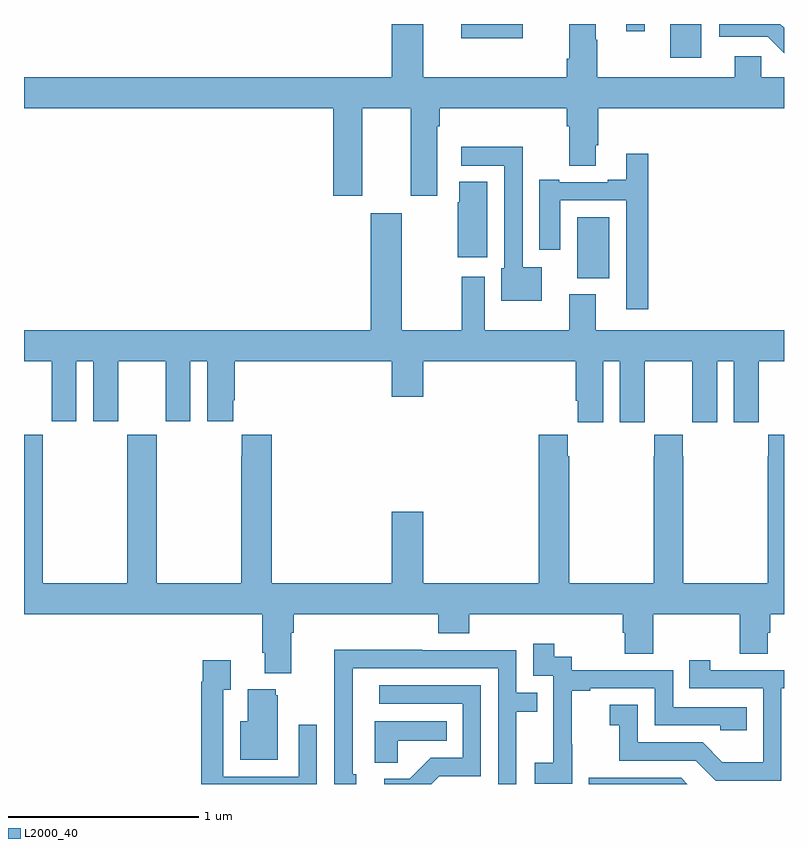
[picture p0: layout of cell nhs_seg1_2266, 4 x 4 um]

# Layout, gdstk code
import gdstk
lib = gdstk.Library(unit=1e-6, precision=1e-09)
def R(c, l, rs):  # rectangles x0, y0, x1, y1
    for r in rs: c.add(gdstk.rectangle(r[:2], r[2:], *l))
def P(c, l, *ps):  # polygons
    for p in ps: c.add(gdstk.Polygon(p, *l))
L2000_40 = (2000, 40)

nhs_seg1_2266 = lib.new_cell('nhs_seg1_2266')
R(nhs_seg1_2266, L2000_40, [(237.911,526.862,238.081,527.182), (238.4,528.021,238.564,528.199), (237.3,528.125,237.624,528.199), (238.169,528.162,238.267,528.199)])
P(nhs_seg1_2266, L2000_40, [(239,528.178),(238.979,528.199),(238.659,528.199),(238.659,528.132),(238.914,528.132),(239,528.046)],
  [(238.017,528.116),(238.009,528.116),(238.009,528.199),(237.869,528.199),(237.869,528.016),(237.857,528.016),(237.857,527.92),(237.1,527.92),(237.1,528.199),(236.936,528.199),(236.936,527.92),(235,527.92),(235,527.756),(236.627,527.756),(236.627,527.295),(236.779,527.295),(236.779,527.756),(237.035,527.756),(237.035,527.295),(237.175,527.295),(237.175,527.66),(237.188,527.66),(237.188,527.756),(237.857,527.756),(237.857,527.66),(237.869,527.66),(237.869,527.452),(238.009,527.452),(238.009,527.56),(238.022,527.56),(238.022,527.756),(239,527.756),(239,527.92),(238.881,527.92),(238.881,528.03),(238.742,528.03),(238.742,527.92),(238.017,527.92)],
  [(237.724,526.918),(237.624,526.918),(237.624,527.552),(237.3,527.552),(237.3,527.454),(237.528,527.454),(237.528,526.914),(237.512,526.914),(237.512,526.742),(237.724,526.742)],
  [(238.286,527.515),(238.169,527.515),(238.169,527.38),(238.073,527.38),(238.073,527.367),(237.817,527.367),(237.817,527.38),(237.713,527.38),(237.713,527.01),(237.823,527.01),(237.823,527.271),(238.17,527.271),(238.17,526.698),(238.286,526.698)],
  [(237.439,527.369),(237.29,527.369),(237.29,527.261),(237.283,527.261),(237.283,526.971),(237.439,526.971)],
  [(238.009,526.777),(237.869,526.777),(237.869,526.588),(237.424,526.588),(237.424,526.87),(237.304,526.87),(237.304,526.588),(236.989,526.588),(236.989,527.203),(236.825,527.203),(236.825,526.588),(235,526.588),(235,526.424),(235.145,526.424),(235.145,526.107),(235.276,526.107),(235.276,526.424),(235.364,526.424),(235.364,526.107),(235.495,526.107),(235.495,526.424),(235.745,526.424),(235.745,526.107),(235.876,526.107),(235.876,526.424),(235.964,526.424),(235.964,526.107),(236.101,526.107),(236.101,526.219),(236.108,526.219),(236.108,526.424),(236.936,526.424),(236.936,526.236),(237.1,526.236),(237.1,526.424),(237.905,526.424),(237.905,526.216),(237.914,526.216),(237.914,526.104),(238.048,526.104),(238.048,526.424),(238.136,526.424),(238.136,526.104),(238.266,526.104),(238.266,526.216),(238.267,526.216),(238.267,526.424),(238.517,526.424),(238.517,526.216),(238.518,526.216),(238.518,526.104),(238.648,526.104),(238.648,526.424),(238.736,526.424),(238.736,526.104),(238.866,526.104),(238.866,526.216),(238.867,526.216),(238.867,526.424),(239,526.424),(239,526.588),(238.009,526.588)],
  [(237.87,525.923),(237.863,525.923),(237.863,526.036),(237.71,526.036),(237.71,525.256),(237.1,525.256),(237.1,525.631),(236.936,525.631),(236.936,525.256),(236.303,525.256),(236.303,526.036),(236.147,526.036),(236.147,525.923),(236.143,525.923),(236.143,525.256),(235.698,525.256),(235.698,526.036),(235.543,526.036),(235.543,525.256),(235.098,525.256),(235.098,526.036),(235,526.036),(235,525.092),(236.255,525.092),(236.255,524.89),(236.267,524.89),(236.267,524.783),(236.407,524.783),(236.407,524.996),(236.42,524.996),(236.42,525.092),(237.179,525.092),(237.179,524.993),(237.344,524.993),(237.344,525.092),(238.151,525.092),(238.151,524.994),(238.163,524.994),(238.163,524.884),(238.311,524.884),(238.311,525.092),(238.768,525.092),(238.768,524.884),(238.915,524.884),(238.915,524.994),(238.928,524.994),(238.928,525.092),(239,525.092),(239,526.036),(238.917,526.036),(238.917,525.923),(238.915,525.923),(238.915,525.256),(238.47,525.256),(238.47,525.923),(238.467,525.923),(238.467,526.036),(238.317,526.036),(238.317,525.923),(238.315,525.923),(238.315,525.256),(237.87,525.256)],
  [(237.885,524.407),(237.884,524.407),(237.884,524.691),(237.979,524.691),(237.979,524.703),(238.32,524.703),(238.32,524.508),(238.665,524.508),(238.665,524.481),(238.805,524.481),(238.805,524.604),(238.416,524.604),(238.416,524.799),(237.882,524.799),(237.882,524.868),(237.79,524.868),(237.79,524.938),(237.681,524.938),(237.681,524.769),(237.786,524.769),(237.786,524.54),(237.785,524.54),(237.785,524.311),(237.687,524.311),(237.687,524.201),(237.885,524.201)],
  [(236.749,524.25),(236.73,524.25),(236.73,524.808),(237.495,524.808),(237.495,524.199),(237.591,524.199),(237.591,524.578),(237.701,524.578),(237.701,524.679),(237.591,524.679),(237.591,524.904),(237.095,524.904),(237.095,524.906),(236.632,524.906),(236.632,524.599),(236.634,524.599),(236.634,524.199),(236.749,524.199)],
  [(238.986,524.703),(239,524.703),(239,524.799),(238.612,524.799),(238.612,524.851),(238.501,524.851),(238.501,524.703),(238.89,524.703),(238.89,524.314),(238.676,524.314),(238.572,524.418),(238.23,524.418),(238.23,524.617),(238.083,524.617),(238.083,524.507),(238.132,524.507),(238.132,524.322),(238.535,524.322),(238.64,524.217),(238.986,524.217)],
  [(236.541,524.512),(236.445,524.512),(236.445,524.238),(236.049,524.238),(236.049,524.695),(236.089,524.695),(236.089,524.851),(235.941,524.851),(235.941,524.738),(235.933,524.738),(235.933,524.199),(236.541,524.199)],
  [(237.186,524.241),(237.405,524.241),(237.405,524.718),(236.871,524.718),(236.871,524.622),(237.309,524.622),(237.309,524.337),(237.14,524.337),(237.029,524.226),(236.895,524.226),(236.895,524.199),(237.144,524.199)],
  [(236.335,524.667),(236.324,524.667),(236.324,524.698),(236.177,524.698),(236.177,524.53),(236.138,524.53),(236.138,524.327),(236.335,524.327)],
  [(236.967,524.426),(237.224,524.426),(237.224,524.53),(236.846,524.53),(236.846,524.311),(236.967,524.311)],
  [(238.458,524.232),(237.972,524.232),(237.972,524.199),(238.491,524.199)])

lib.write_gds('nhs_seg1_2266.gds')
